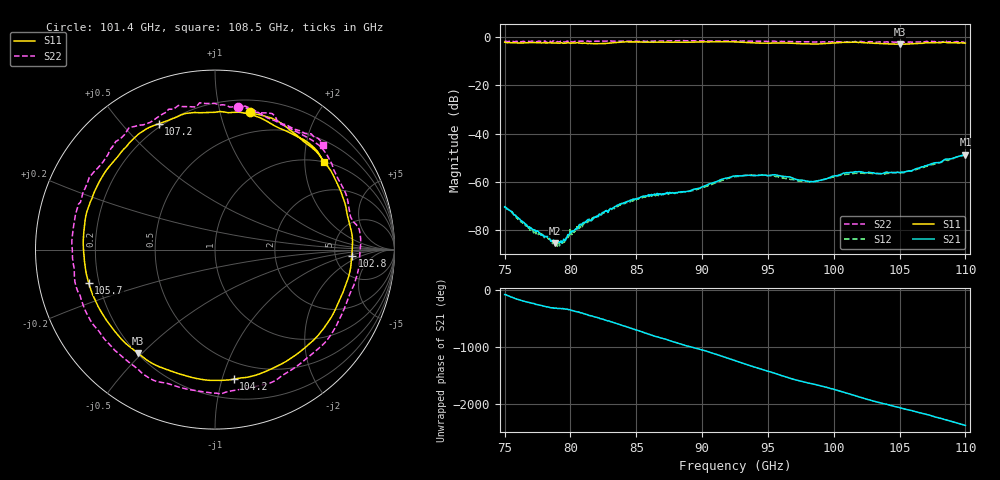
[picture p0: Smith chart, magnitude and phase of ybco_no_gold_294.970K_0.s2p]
#  HZ  S  RI  R  50.00
! Rohde & Schwarz Vector Network Analyzer
! Rohde-Schwarz,ZNA50-4Port,1332450054101417,2.92
! Created: UTC 11/21/2024, 1:17:55 PM
! freq[Hz]  re:S11  im:S11  re:S21  im:S21  re:S12  im:S12  re:S22  im:S22
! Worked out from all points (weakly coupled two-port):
!   1001 points, 75 GHz to 110 GHz, reference 50 ohm
!   highest |S21| = -48.76 dB at 110 GHz (marker M1); lowest = -85.7 dB at 78.81 GHz (marker M2)
!   lowest |S11| = -2.9 dB at 105 GHz (marker M3), VSWR 6.12, Z = 10.2 - j24.3 ohm
!   |S11| at or under -10 dB: nowhere
!   |S22| runs from -2.2 to -1.3 dB; largest |S21 - S12| = 0.00063
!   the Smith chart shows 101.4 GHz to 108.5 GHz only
!   S11 on the Smith chart (normalised r, x): 101.4 GHz: 0.31, +1.24; 102.8 GHz: 7.25, -1.16; 104.2 GHz: 0.35, -1.09; 105.7 GHz: 0.16, -0.13; 107.2 GHz: 0.19, +0.63; 108.5 GHz: 1.01, +2.49
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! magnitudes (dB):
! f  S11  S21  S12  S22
! 75 GHz  -2.0  -70.5  -70.5  -1.6
! 77 GHz  -2.2  -79.3  -79.7  -1.7
! 78.81 GHz  -2.4  -85.7  -85.6  -2.1
! 80.28 GHz  -2.4  -80.4  -81.1  -1.8
! 80.84 GHz  -2.5  -78.1  -78.7  -1.7
! 81.83 GHz  -2.6  -75.0  -75.0  -1.6
! 84.06 GHz  -1.9  -68.9  -69.2  -1.5
! 85.71 GHz  -2.0  -65.9  -66.4  -1.7
! 86.69 GHz  -2.0  -65.5  -65.8  -1.6
! 88.97 GHz  -2.0  -64.1  -64.1  -1.4
! 92.5 GHz  -1.9  -57.7  -58.0  -1.5
! 94.18 GHz  -2.4  -57.5  -57.3  -1.6
! 95.55 GHz  -2.4  -57.2  -57.8  -1.7
! 98.34 GHz  -2.8  -60.0  -60.1  -1.9
! 101.4 GHz  -2.1  -56.2  -56.7  -1.9
! 102.8 GHz  -2.3  -56.2  -56.5  -1.8
! 104.2 GHz  -2.7  -56.2  -56.6  -2.0
! 105 GHz  -2.9  -56.2  -56.3  -2.0
! 105.7 GHz  -2.8  -55.6  -55.7  -2.0
! 107.2 GHz  -2.3  -53.1  -53.5  -1.9
! 108.5 GHz  -2.2  -50.7  -51.0  -1.6
! 110 GHz  -2.4  -48.8  -49.0  -2.1
